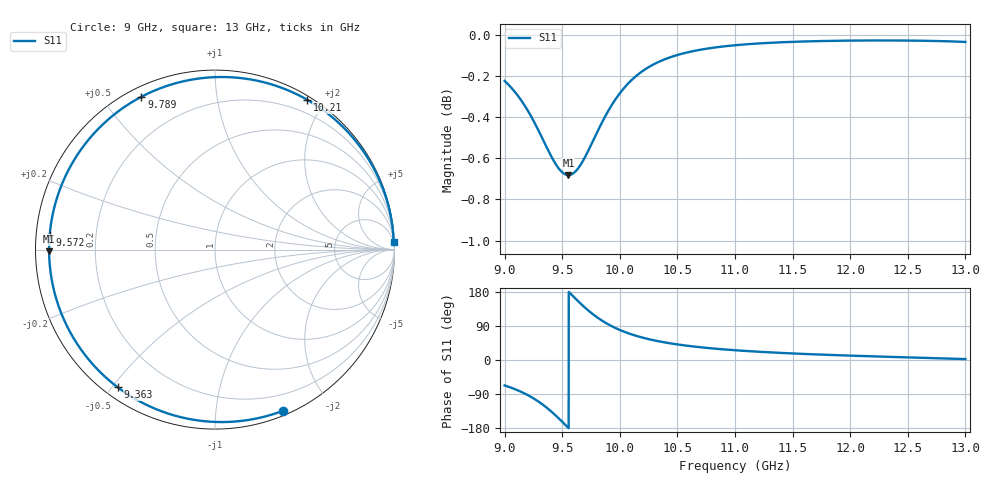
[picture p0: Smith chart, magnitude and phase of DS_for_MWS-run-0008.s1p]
! TOUCHSTONE file generated by CST DESIGN STUDIO
! Date and time: Tue Feb  4 12:45:50 2025
! Project name: C:\Work\MatlabApps\UnitCellOptimizationMatlab\CST\unitcell.cst
! Tree item: Tasks\Sweep1\SPara1\S-Parameters
! Header version: 2024
! Port assignment regex: !\s*Touchstone port\s*([0-9]+)\s*=\s*(CST MWS port|CST DES external port|CST DES block port)\s*(.+)\s* \(\"(.*)\"\)(\s*mode\s*([0-9]+))?.*
! Touchstone port assignment:
! Touchstone port 1 = CST DES external port 1 ("")
# GHz S MA R 50
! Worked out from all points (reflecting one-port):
!   4001 points, 9 GHz to 13 GHz, reference 50 ohm
!   lowest |S11| = -0.7 dB at 9.554 GHz (marker M1), VSWR 25.49, Z = 1.96 - j0.269 ohm
!   phase of S11 starts at -67 deg and turns -290 deg over the sweep
!   S11 on the Smith chart (normalised r, x): 9 GHz: 0.04, -1.51; 9.363 GHz: 0.04, -0.52; 9.572 GHz: 0.04, +0.04; 9.789 GHz: 0.04, +0.63; 10.21 GHz: 0.04, +1.79; 13 GHz: 4, +46
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9  0.9745 -67.1
9.04  0.972 -71.2
9.105  0.9673 -78.8
9.217  0.9568 -95.2
9.294  0.9479 -109.7
9.363  0.9393 -125.2
9.429  0.9316 -142.3
9.5  0.9259 -162.9
9.554  0.9245 -179.4
9.572  0.9247 175.1
9.626  0.9271 158.7
9.687  0.9326 141.2
9.738  0.9386 127.8
9.789  0.9451 115.7
9.834  0.9507 106.2
9.883  0.9565 97.0
9.937  0.9621 88.1
10  0.9678 79.2
10.099  0.9748 67.9
10.207  0.9803 58.3
10.342  0.9851 49.1
10.5  0.9888 41.1
10.721  0.9919 33.0
11  0.9942 25.8
11.5  0.9961 17.3
12  0.9968 11.5
12.5  0.9968 6.9
13  0.996 2.5
